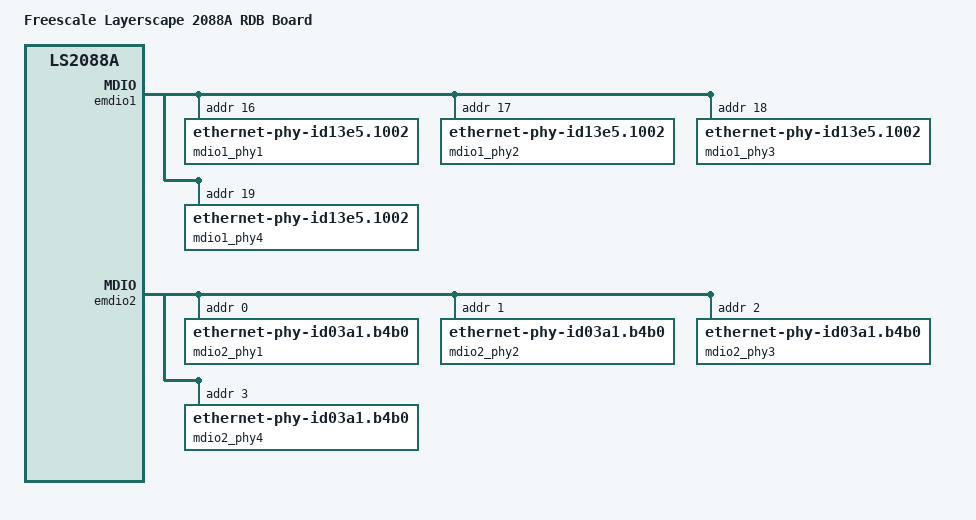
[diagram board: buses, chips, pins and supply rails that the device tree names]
// SPDX-License-Identifier: (GPL-2.0+ OR MIT)
/*
 * Device Tree file for Freescale LS2088A RDB Board.
 *
 * Copyright 2016 Freescale Semiconductor, Inc.
 * Copyright 2017 NXP
 *
 * Abhimanyu Saini <abhimanyu.saini@nxp.com>
 *
 */

/dts-v1/;

#include "fsl-ls2088a.dtsi"
#include "fsl-ls208xa-rdb.dtsi"

/ {
	model = "Freescale Layerscape 2088A RDB Board";
	compatible = "fsl,ls2088a-rdb", "fsl,ls2088a";

	chosen {
		stdout-path = "serial1:115200n8";
	};
};

&dpmac1 {
	phy-handle = <&mdio1_phy1>;
};

&dpmac2 {
	phy-handle = <&mdio1_phy2>;
};

&dpmac3 {
	phy-handle = <&mdio1_phy3>;
};

&dpmac4 {
	phy-handle = <&mdio1_phy4>;
};

&dpmac5 {
	phy-handle = <&mdio2_phy1>;
};

&dpmac6 {
	phy-handle = <&mdio2_phy2>;
};

&dpmac7 {
	phy-handle = <&mdio2_phy3>;
};

&dpmac8 {
	phy-handle = <&mdio2_phy4>;
};

&emdio1 {
	status = "okay";

	mdio1_phy1: emdio1_phy@1 {
		compatible = "ethernet-phy-id13e5.1002";
		reg = <0x10>;
		phy-connection-type = "10gbase-r";
	};
	mdio1_phy2: emdio1_phy@2 {
		compatible = "ethernet-phy-id13e5.1002";
		reg = <0x11>;
		phy-connection-type = "10gbase-r";
	};
	mdio1_phy3: emdio1_phy@3 {
		compatible = "ethernet-phy-id13e5.1002";
		reg = <0x12>;
		phy-connection-type = "10gbase-r";
	};
	mdio1_phy4: emdio1_phy@4 {
		compatible = "ethernet-phy-id13e5.1002";
		reg = <0x13>;
		phy-connection-type = "10gbase-r";
	};
};

&emdio2 {
	status = "okay";

	mdio2_phy1: emdio2_phy@1 {
		compatible = "ethernet-phy-id03a1.b4b0", "ethernet-phy-ieee802.3-c45";
		interrupts = <0 1 0x4>;
		reg = <0x0>;
		phy-connection-type = "10gbase-r";
	};
	mdio2_phy2: emdio2_phy@2 {
		compatible = "ethernet-phy-id03a1.b4b0", "ethernet-phy-ieee802.3-c45";
		interrupts = <0 2 0x4>;
		reg = <0x1>;
		phy-connection-type = "10gbase-r";
	};
	mdio2_phy3: emdio2_phy@3 {
		compatible = "ethernet-phy-id03a1.b4b0", "ethernet-phy-ieee802.3-c45";
		interrupts = <0 4 0x4>;
		reg = <0x2>;
		phy-connection-type = "10gbase-r";
	};
	mdio2_phy4: emdio2_phy@4 {
		compatible = "ethernet-phy-id03a1.b4b0", "ethernet-phy-ieee802.3-c45";
		interrupts = <0 5 0x4>;
		reg = <0x3>;
		phy-connection-type = "10gbase-r";
	};
};
